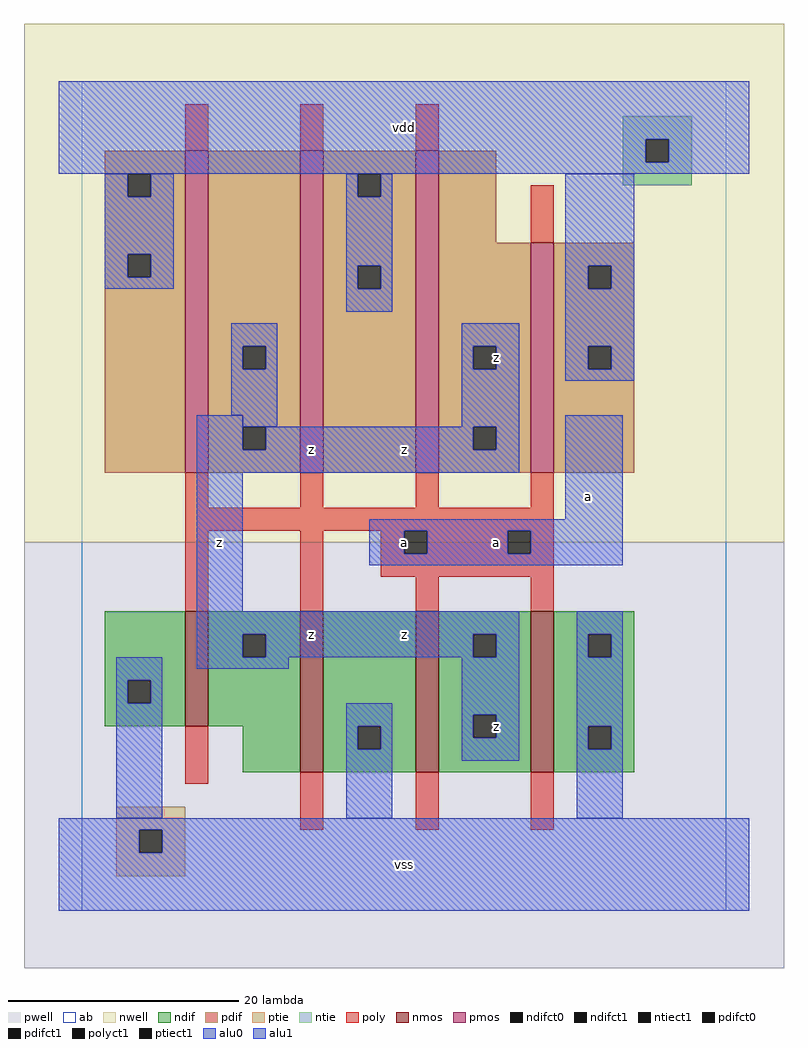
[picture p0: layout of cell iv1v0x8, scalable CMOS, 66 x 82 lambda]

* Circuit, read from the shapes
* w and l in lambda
.subckt iv1v0x8 a vdd vss z
M1 z a vss vss nfet w=10 l=2
M2 vss a z vss nfet w=14 l=2 m=3
M3 z a vdd vdd pfet w=28 l=2 m=3
M4 vdd a z vdd pfet w=20 l=2
.ends

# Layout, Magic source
magic
tech scmos
<< ab >>
rect 0 0 56 72
<< nwell >>
rect -5 32 61 77
<< pwell >>
rect -5 -5 61 32
<< poly >>
rect 9 66 11 70
rect 19 66 21 70
rect 29 66 31 70
rect 39 58 41 63
rect 9 35 11 38
rect 19 35 21 38
rect 29 35 31 38
rect 39 35 41 38
rect 9 33 41 35
rect 9 26 11 33
rect 19 26 21 33
rect 26 31 28 33
rect 30 31 37 33
rect 39 31 41 33
rect 26 29 41 31
rect 29 26 31 29
rect 39 26 41 29
rect 9 11 11 16
rect 19 7 21 12
rect 29 7 31 12
rect 39 7 41 12
<< ndif >>
rect 2 20 9 26
rect 2 18 4 20
rect 6 18 9 20
rect 2 16 9 18
rect 11 24 19 26
rect 11 22 14 24
rect 16 22 19 24
rect 11 16 19 22
rect 14 12 19 16
rect 21 16 29 26
rect 21 14 24 16
rect 26 14 29 16
rect 21 12 29 14
rect 31 24 39 26
rect 31 22 34 24
rect 36 22 39 24
rect 31 17 39 22
rect 31 15 34 17
rect 36 15 39 17
rect 31 12 39 15
rect 41 24 48 26
rect 41 22 44 24
rect 46 22 48 24
rect 41 16 48 22
rect 41 14 44 16
rect 46 14 48 16
rect 41 12 48 14
<< pdif >>
rect 2 64 9 66
rect 2 62 4 64
rect 6 62 9 64
rect 2 57 9 62
rect 2 55 4 57
rect 6 55 9 57
rect 2 38 9 55
rect 11 49 19 66
rect 11 47 14 49
rect 16 47 19 49
rect 11 42 19 47
rect 11 40 14 42
rect 16 40 19 42
rect 11 38 19 40
rect 21 64 29 66
rect 21 62 24 64
rect 26 62 29 64
rect 21 56 29 62
rect 21 54 24 56
rect 26 54 29 56
rect 21 38 29 54
rect 31 58 36 66
rect 31 49 39 58
rect 31 47 34 49
rect 36 47 39 49
rect 31 42 39 47
rect 31 40 34 42
rect 36 40 39 42
rect 31 38 39 40
rect 41 56 48 58
rect 41 54 44 56
rect 46 54 48 56
rect 41 49 48 54
rect 41 47 44 49
rect 46 47 48 49
rect 41 38 48 47
<< alu1 >>
rect -2 67 58 72
rect -2 65 49 67
rect 51 65 58 67
rect -2 64 58 65
rect 10 40 14 43
rect 33 49 38 51
rect 33 47 34 49
rect 36 47 38 49
rect 33 42 38 47
rect 16 40 34 42
rect 36 40 38 42
rect 10 38 38 40
rect 10 26 14 38
rect 42 34 47 43
rect 25 33 47 34
rect 25 31 28 33
rect 30 31 37 33
rect 39 31 47 33
rect 25 30 47 31
rect 10 24 38 26
rect 10 22 14 24
rect 16 22 34 24
rect 36 22 38 24
rect 10 21 18 22
rect 33 17 38 22
rect 33 15 34 17
rect 36 15 38 17
rect 33 13 38 15
rect -2 7 58 8
rect -2 5 5 7
rect 7 5 58 7
rect -2 0 58 5
<< ptie >>
rect 3 7 9 9
rect 3 5 5 7
rect 7 5 9 7
rect 3 3 9 5
<< ntie >>
rect 47 67 53 69
rect 47 65 49 67
rect 51 65 53 67
rect 47 63 53 65
<< nmos >>
rect 9 16 11 26
rect 19 12 21 26
rect 29 12 31 26
rect 39 12 41 26
<< pmos >>
rect 9 38 11 66
rect 19 38 21 66
rect 29 38 31 66
rect 39 38 41 58
<< polyct1 >>
rect 28 31 30 33
rect 37 31 39 33
<< ndifct0 >>
rect 4 18 6 20
rect 24 14 26 16
rect 44 22 46 24
rect 44 14 46 16
<< ndifct1 >>
rect 14 22 16 24
rect 34 22 36 24
rect 34 15 36 17
<< ntiect1 >>
rect 49 65 51 67
<< ptiect1 >>
rect 5 5 7 7
<< pdifct0 >>
rect 4 62 6 64
rect 4 55 6 57
rect 14 47 16 49
rect 24 62 26 64
rect 24 54 26 56
rect 44 54 46 56
rect 44 47 46 49
<< pdifct1 >>
rect 14 40 16 42
rect 34 47 36 49
rect 34 40 36 42
<< alu0 >>
rect 2 62 4 64
rect 6 62 8 64
rect 2 57 8 62
rect 2 55 4 57
rect 6 55 8 57
rect 2 54 8 55
rect 23 62 24 64
rect 26 62 27 64
rect 23 56 27 62
rect 23 54 24 56
rect 26 54 27 56
rect 23 52 27 54
rect 42 56 48 64
rect 42 54 44 56
rect 46 54 48 56
rect 13 49 17 51
rect 13 47 14 49
rect 16 47 17 49
rect 13 43 17 47
rect 14 42 17 43
rect 42 49 48 54
rect 42 47 44 49
rect 46 47 48 49
rect 42 46 48 47
rect 3 20 7 22
rect 3 18 4 20
rect 6 18 7 20
rect 3 8 7 18
rect 23 16 27 18
rect 23 14 24 16
rect 26 14 27 16
rect 23 8 27 14
rect 43 24 47 26
rect 43 22 44 24
rect 46 22 47 24
rect 43 16 47 22
rect 43 14 44 16
rect 46 14 47 16
rect 43 8 47 14
<< labels >>
rlabel alu1 12 32 12 32 6 z
rlabel alu1 20 24 20 24 6 z
rlabel alu1 20 40 20 40 6 z
rlabel alu1 28 4 28 4 6 vss
rlabel alu1 36 16 36 16 6 z
rlabel alu1 28 24 28 24 6 z
rlabel alu1 28 32 28 32 6 a
rlabel alu1 36 32 36 32 6 a
rlabel alu1 28 40 28 40 6 z
rlabel alu1 36 48 36 48 6 z
rlabel alu1 28 68 28 68 6 vdd
rlabel alu1 44 36 44 36 6 a
<< end >>
